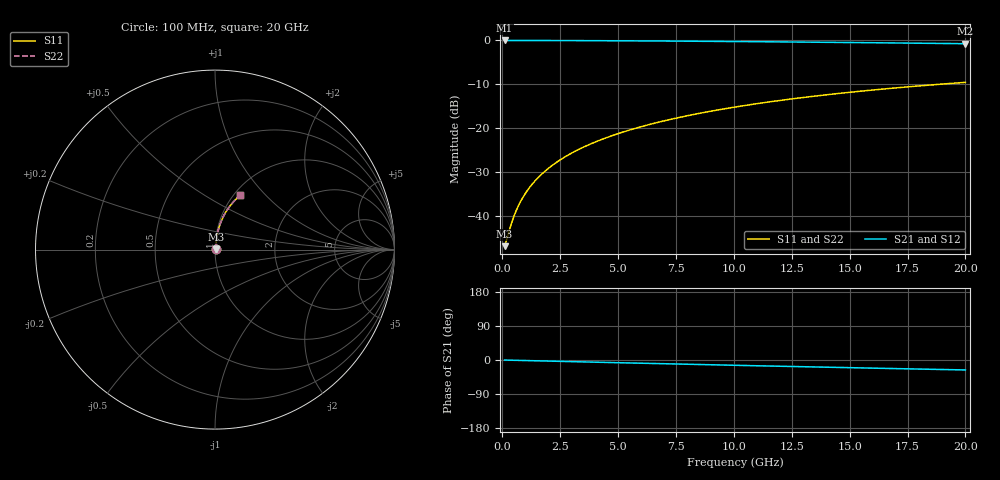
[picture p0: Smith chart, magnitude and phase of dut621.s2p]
! Touchstone file exported from HFSS 2024.1.0
!  File:  C:/UserFiles/LocalFiles/RDL_TSV_Batchsim/temp_RDL_top_621_1779780215.aedt
!  Generated:  03:26:00 PM May 26, 2026
!  Design:  RDL_top
!  Project:  temp_RDL_top_621_1779780215
!  Setup:  Setup1
!  Solution:  Sweep
! Variables:
!  dtsv = 10.80580581um
!  hbump = 3um
!  htsv = 61.39um
!  ldown = 100um
!  lrdl = 298.5um
!  p = 40
!  p1 = 43.95um
!  rhole = 1um
!  t = 450um
!  tdown = 3.915915916um
!  trdl = 2.29um
!  wdown = 15.38538539um
!  wrdl = 11.47um
# GHz S MA R 50.000000
! Terminal data exported
! Port[1] = Box2_T1
! Port[2] = Box2_T2
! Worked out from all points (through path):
!   200 points, 100 MHz to 20 GHz, reference 50 ohm
!   highest |S21| = -0.04 dB at 100 MHz (marker M1); lowest = -0.8 dB at 20 GHz (marker M2)
!   group delay of S21, straight-line fit = 3.65 ps
!   lowest |S11| = -46.8 dB at 100 MHz (marker M3), VSWR 1.01, Z = 50.4 + j0.182 ohm
!   |S11| at or under -10 dB: start of sweep to 18.86 GHz
!   |S22| runs from -46.8 to -9.6 dB; largest |S21 - S12| = 3.9e-15
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0.1  0.004587 23.1  0.9958 -0.1  0.9958 -0.1  0.004587 23.1
! Gamma 0 0 0 0
! Port Impedance 50 0 50 0
0.4  0.008394 58.6  0.9956 -0.6  0.9956 -0.6  0.008394 58.6
0.5  0.009978 63.5  0.9955 -0.7  0.9955 -0.7  0.009978 63.5
0.6  0.01161 67.0  0.9955 -0.9  0.9955 -0.9  0.01161 67.0
0.7  0.01326 69.5  0.9954 -1.0  0.9954 -1.0  0.01326 69.5
0.9  0.0166 73.1  0.9952 -1.3  0.9952 -1.3  0.0166 73.1
1.2  0.02166 76.2  0.9948 -1.8  0.9948 -1.8  0.02166 76.2
1.4  0.02505 77.6  0.9946 -2.0  0.9946 -2.0  0.02505 77.6
1.7  0.03015 79.0  0.9943 -2.5  0.9943 -2.5  0.03015 79.0
2.2  0.03869 80.4  0.9936 -3.2  0.9936 -3.2  0.03869 80.4
2.8  0.04899 81.3  0.9926 -4.0  0.9926 -4.0  0.04899 81.3
3.5  0.06106 81.6  0.9913 -5.0  0.9913 -5.0  0.06106 81.6
4.2  0.07317 81.6  0.9897 -6.0  0.9897 -6.0  0.07317 81.6
5  0.08705 81.3  0.9876 -7.1  0.9876 -7.1  0.08705 81.3
5.9  0.1027 80.7  0.9849 -8.4  0.9849 -8.4  0.1027 80.7
6.8  0.1184 80.0  0.9819 -9.6  0.9819 -9.6  0.1184 80.0
8.3  0.1444 78.6  0.9762 -11.7  0.9762 -11.7  0.1444 78.6
10.1  0.1754 76.7  0.9685 -14.0  0.9685 -14.0  0.1754 76.7
11.7  0.2025 74.9  0.961 -16.1  0.961 -16.1  0.2025 74.9
13.4  0.2307 72.9  0.9525 -18.3  0.9525 -18.3  0.2307 72.9
16.7  0.2834 69.0  0.9344 -22.4  0.9344 -22.4  0.2834 69.0
20  0.3329 65.2  0.9149 -26.3  0.9149 -26.3  0.3329 65.2
